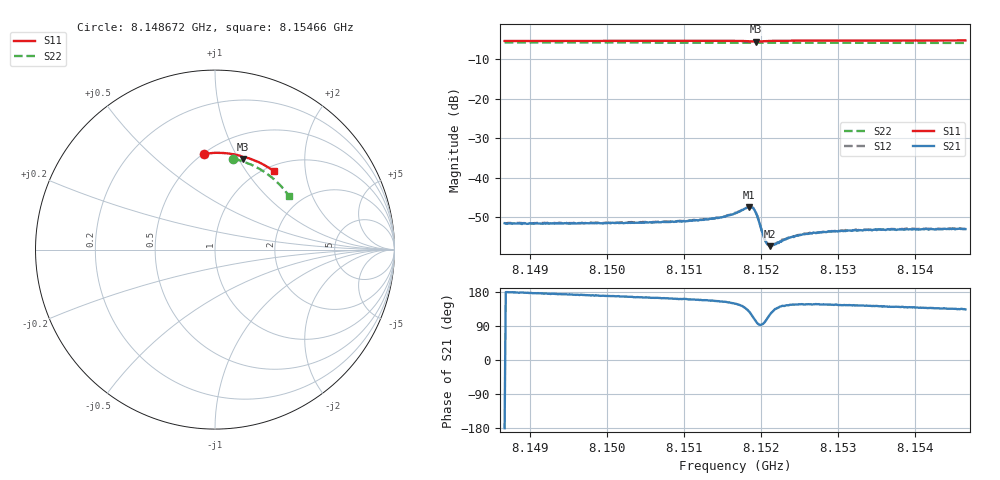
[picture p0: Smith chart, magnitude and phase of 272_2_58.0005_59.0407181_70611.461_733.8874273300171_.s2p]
#  HZ  S  RI  R  50.00
! Rohde & Schwarz Vector Network Analyzer
! Rohde-Schwarz,ZNB20-2Port,1311601062101988,3.16
! Created: UTC 3/21/2024, 1:02:25 AM
! freq[Hz]  re:S11  im:S11  re:S21  im:S21  re:S12  im:S12  re:S22  im:S22
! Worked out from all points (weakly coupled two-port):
!   401 points, 8.148672 GHz to 8.15466 GHz, reference 50 ohm
!   highest |S21| = -47.39 dB at 8.151846 GHz (marker M1); lowest = -57.3 dB at 8.152115 GHz (marker M2)
!   lowest |S11| = -5.5 dB at 8.151936 GHz (marker M3), VSWR 3.25, Z = 37.2 + j52.3 ohm
!   |S11| at or under -10 dB: nowhere
!   |S22| runs from -5.9 to -5.7 dB; largest |S21 - S12| = 0.00011
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8.1486724e9  -0.0629 0.5337  -0.00265 -4.01e-06  -0.00267 8.77e-05  0.1023 0.506
8.1496753e9  0.00689 0.5392  -0.00263 0.000367  -0.00266 0.000434  0.1651 0.4879
8.1506782e9  0.0768 0.5353  -0.00261 0.000765  -0.00264 0.000818  0.2249 0.4622
8.151277e9  0.1187 0.5282  -0.00276 0.00112  -0.00271 0.00116  0.2586 0.4433
8.1515165e9  0.136 0.524  -0.00286 0.00141  -0.00287 0.00144  0.2716 0.4351
8.1516662e9  0.1472 0.5199  -0.00301 0.00184  -0.00304 0.00191  0.2797 0.4297
8.1518458e9  0.159 0.5097  -0.00266 0.00334  -0.00262 0.00342  0.289 0.4229
8.1518907e9  0.1588 0.5062  -0.00188 0.00375  -0.00182 0.0038  0.2913 0.4211
8.1519207e9  0.1573 0.5052  -0.00114 0.00372  -0.00109 0.00376  0.2926 0.42
8.1519356e9  0.1565 0.5053  -0.000803 0.00355  -0.000743 0.00359  0.2934 0.4196
8.1519656e9  0.1556 0.5067  -0.000267 0.00302  -0.000266 0.00309  0.2948 0.4184
8.1520255e9  0.158 0.5106  -0.000162 0.00197  -0.000147 0.00195  0.2979 0.4164
8.1520554e9  0.1604 0.5118  -0.0003 0.00159  -0.000295 0.0016  0.2995 0.4154
8.1520853e9  0.163 0.5126  -0.000485 0.00135  -0.000487 0.00141  0.3012 0.4142
8.1521153e9  0.1657 0.5129  -0.000651 0.00119  -0.000625 0.00124  0.3025 0.4131
8.1521602e9  0.1695 0.5127  -0.000877 0.00109  -0.000874 0.0011  0.305 0.4113
8.1523099e9  0.1814 0.5109  -0.00132 0.00101  -0.0013 0.00103  0.3128 0.4053
8.1523847e9  0.1869 0.5092  -0.00145 0.00098  -0.00147 0.000994  0.3163 0.4023
8.1526691e9  0.2067 0.5026  -0.00164 0.0011  -0.00164 0.00112  0.3303 0.3906
8.1530733e9  0.2331 0.4918  -0.00172 0.00121  -0.00174 0.00125  0.3492 0.3732
8.1536721e9  0.2705 0.4733  -0.00171 0.00139  -0.0017 0.00142  0.3755 0.3453
8.15466e9  0.3283 0.4371  -0.00154 0.00162  -0.00153 0.00163  0.4139 0.296
